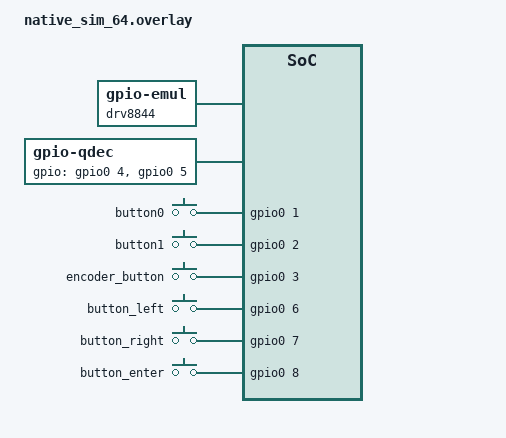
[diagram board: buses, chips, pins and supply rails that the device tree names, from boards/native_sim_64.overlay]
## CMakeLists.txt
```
# SPDX-License-Identifier: Apache-2.0

cmake_minimum_required(VERSION 3.20.0)

set(CMAKE_EXPORT_COMPILE_COMMANDS ON)

set(ZEPHYR_EXTRA_MODULES "${CMAKE_SOURCE_DIR}/../../modules/veethree_sim" "${CMAKE_SOURCE_DIR}/../../modules/bsp" "${CMAKE_SOURCE_DIR}/../../modules/nafe")

find_package(Zephyr REQUIRED HINTS $ENV{ZEPHYR_BASE})

project(app)

target_sources(app PRIVATE src/main.c )

target_compile_definitions(app PRIVATE LV_LVGL_H_INCLUDE_SIMPLE)
```

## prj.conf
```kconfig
CONFIG_ASSERT=y
CONFIG_SYS_CLOCK_HW_CYCLES_PER_SEC=492000000



CONFIG_FLASH=y
# IMPORTANT NOTE: Flash shell does not work with bootloader; disable when 
# the application is run from the secondary bootloader
CONFIG_FLASH_SHELL=n
CONFIG_FLASH_SHELL_TEST_COMMANDS=n

# Bootloader
CONFIG_BOOTLOADER_MCUBOOT=n
CONFIG_MCUBOOT_GENERATE_UNSIGNED_IMAGE=n
CONFIG_MCUBOOT_BOOTLOADER_MODE_DIRECT_XIP=n


CONFIG_LOG=y
CONFIG_HWINFO=y
# Float log support
CONFIG_CBPRINTF_FP_SUPPORT=y
CONFIG_LOG_BUFFER_SIZE=4096
CONFIG_INIT_STACKS=y

CONFIG_GPIO=y
CONFIG_GPIO_SHELL=y

CONFIG_CONSOLE=y
CONFIG_UART_CONSOLE=y
CONFIG_SHELL=y
CONFIG_SHELL_STACK_SIZE=4096
CONFIG_SHELL_PROMPT_UART="proto:~$"

CONFIG_DMA=y
CONFIG_SYSTEM_WORKQUEUE_STACK_SIZE=4096
CONFIG_PWM=y

CONFIG_SPI=y
CONFIG_MODBUS=y

CONFIG_CAN=y
CONFIG_CAN_SHELL=y
# errors with prioroty otherwise
CONFIG_CAN_TRANSCEIVER_INIT_PRIORITY=80 

CONFIG_DRV8844=y
CONFIG_NAFE13388=y

# Hardware timer driver is enabled by COUNTER switch
CONFIG_COUNTER=y

CONFIG_NUM_COOP_PRIORITIES=29
CONFIG_NUM_PREEMPT_PRIORITIES=40
CONFIG_THREAD_NAME=y
CONFIG_REBOOT=y
CONFIG_THREAD_STACK_INFO=y
CONFIG_THREAD_RUNTIME_STATS=y
CONFIG_HW_STACK_PROTECTION=y

CONFIG_FAULT_DUMP=2
CONFIG_RUNTIME_ERROR_CHECKS=y
CONFIG_DEBUG_THREAD_INFO=y
CONFIG_PRINTK=y

CONFIG_NO_OPTIMIZATIONS=y
CONFIG_MAIN_STACK_SIZE=8192
CONFIG_HEAP_MEM_POOL_SIZE=262144
CONFIG_IDLE_STACK_SIZE=4096

# Flash
CONFIG_MEMC=y
CONFIG_FLASH_MCUX_FLEXSPI_NOR_WRITE_BUFFER=n

# I2C EEPROM, GPIO expander
CONFIG_I2C=y
CONFIG_I2C_SHELL=y

CONFIG_EEPROM=n

# GPIO_PCA953X
CONFIG_GPIO_LOG_LEVEL_DBG=n

# LED Driver
CONFIG_LED=y


# LVGL
CONFIG_MCUX_ELCDIF_PXP=y
CONFIG_DISPLAY=y
CONFIG_DISPLAY_INIT_PRIORITY=80
CONFIG_DISPLAY_LOG_LEVEL_ERR=y
CONFIG_DISPLAY=y
CONFIG_DISPLAY_MCUX_ELCDIF=y

CONFIG_LVGL=y
CONFIG_LV_MEM_CUSTOM=y
CONFIG_LV_USE_LOG=y
CONFIG_LV_USE_LABEL=y
CONFIG_LV_USE_BTN=y
CONFIG_LV_USE_ARC=y
CONFIG_LV_USE_IMG=y
CONFIG_LV_USE_MONKEY=y
CONFIG_LV_FONT_MONTSERRAT_14=y
CONFIG_LV_Z_MEM_POOL_SIZE=52224


# Configs from shield rk043fn66hs_ctg's defconfig
CONFIG_LV_Z_VDB_SIZE=100
CONFIG_LV_Z_DOUBLE_VDB=y
CONFIG_LV_Z_FULL_REFRESH=y
CONFIG_LV_Z_BITS_PER_PIXEL=32
CONFIG_LV_DPI_DEF=128
CONFIG_LV_Z_FLUSH_THREAD=n
CONFIG_LV_Z_VDB_ALIGN=32

CONFIG_LV_Z_MEM_POOL_SIZE=52224 
# CONFIG_LV_Z_FLUSH_THREAD_STACK_SIZE=8192
CONFIG_LV_Z_MEM_POOL_SYS_HEAP=y
CONFIG_LV_COLOR_DEPTH_32=y

CONFIG_LV_USE_PERF_MONITOR=y
# CONFIG_LV_USE_PXP=y - NO PXP...
```

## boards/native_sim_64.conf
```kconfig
# Copyright 2025 Abderrahmane JARMOUNI
# SPDX-License-Identifier: Apache-2.0

CONFIG_LV_COLOR_DEPTH_32=y
CONFIG_LV_Z_MEM_POOL_SIZE=150536

CONFIG_VE_SIM=y
CONFIG_INPUT=y

CONFIG_NAFE13388=n
CONFIG_DRV8844=y

CONFIG_NAFE13388_EMUL=y
CONFIG_NAFE13388=n

CONFIG_USE_DT_CODE_PARTITION=n
CONFIG_MCUX_ELCDIF_PXP=n
CONFIG_DISPLAY_MCUX_ELCDIF=n
CONFIG_HW_STACK_PROTECTION=n

CONFIG_BOOTLOADER_MCUBOOT=n
CONFIG_MCUBOOT_GENERATE_UNSIGNED_IMAGE=n
CONFIG_MCUBOOT_BOOTLOADER_MODE_DIRECT_XIP=n
CONFIG_BSP_AUTO_INIT=y
```

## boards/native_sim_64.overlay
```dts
/*
 * Copyright (c) 2022, RAFAL 
 *
 * SPDX-License-Identifier: Apache-2.0
 */

#include <zephyr/dt-bindings/input/input-event-codes.h>
#include <zephyr/dt-bindings/lvgl/lvgl.h>

/ {	
	aliases {
        debug-uart = &uart0;
        led-green = &led0;
        led-red = &led0;

        drv8844 = &drv8844;
        i2c = &i2c0;       
		sw0 = &button0;
        can1-stb = &can0;     
        
    };	
     drv8844: drv8844 {
		status = "okay";
		compatible = "zephyr,gpio-emul";
		rising-edge;
		falling-edge;
		high-level;
		low-level;
		gpio-controller;
		#gpio-cells = <2>;   
	};          





	qdec {
		compatible = "gpio-qdec";
		gpios = <&gpio0 4 GPIO_ACTIVE_HIGH>, <&gpio0 5 GPIO_ACTIVE_HIGH>;
		steps-per-period = <4>;
		zephyr,axis = <INPUT_REL_WHEEL>;
		sample-time-us = <2000>;
		idle-timeout-ms = <200>;
	};

	keys: keys {
		compatible = "gpio-keys";
		button0: button0 {
			/* gpio0 pin 0 is already aliased to led0 */
			gpios = <&gpio0 1 GPIO_ACTIVE_HIGH>;
			zephyr,code = <INPUT_KEY_R>;
		};

		button1: button1 {
			gpios = <&gpio0 2 GPIO_ACTIVE_HIGH>;
			zephyr,code = <INPUT_KEY_B>;
		};

		encoder_button: encoder_button {
			gpios = <&gpio0 3 GPIO_ACTIVE_HIGH>;
			zephyr,code = <INPUT_KEY_0>;
		};

		button_left: button_left {
			gpios = <&gpio0 6 GPIO_ACTIVE_HIGH>;
			zephyr,code = <INPUT_KEY_LEFT>;
		};

		button_right: button_right {
			gpios = <&gpio0 7 GPIO_ACTIVE_HIGH>;
			zephyr,code = <INPUT_KEY_RIGHT>;
		};

		button_enter: button_enter {
			gpios = <&gpio0 8 GPIO_ACTIVE_HIGH>;
			zephyr,code = <INPUT_KEY_ENTER>;
		};
	};

	lvgl_button_input {
		compatible = "zephyr,lvgl-button-input";
		input = <&keys>;
		input-codes = <INPUT_KEY_B>;
		coordinates = <160 120>;
	};

	lvgl_encoder_input {
		compatible = "zephyr,lvgl-encoder-input";
		rotation-input-code = <INPUT_REL_WHEEL>;
		button-input-code = <INPUT_KEY_0>;
	};

	lvgl_keypad_input {
		compatible = "zephyr,lvgl-keypad-input";
		input = <&keys>;
		input-codes = <INPUT_KEY_LEFT INPUT_KEY_RIGHT INPUT_KEY_ENTER>;
		lvgl-codes = <LV_KEY_LEFT LV_KEY_RIGHT LV_KEY_ENTER>;
	};
};

&gpio1 {
	ngpios = <32>;
};

&gpio0 {
	ngpios = <9>;

	sdl_gpio {
		status = "okay";
		compatible = "zephyr,gpio-emul-sdl";
		/* Skip pin 0 with the unknown code 0 */
		scancodes = <0 21 5 30 31 32 80 79 40>;
	};
};


    
```

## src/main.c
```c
/*
 * Copyright (c) 2012-2014 Wind River Systems, Inc.
 *
 * SPDX-License-Identifier: Apache-2.0
 */
#include <zephyr/device.h>
#include <zephyr/devicetree.h>
#include <zephyr/drivers/display.h>
#include <zephyr/drivers/gpio.h>
#include <lvgl.h>
#include <stdio.h>
#include <string.h>
#include <zephyr/kernel.h>
#include <lvgl_input_device.h>

#include <stdio.h>
// #include "bsp.h"

lv_obj_t *screen;
static lv_obj_t * label;
uint32_t count = 0;

#ifdef CONFIG_GPIO
static struct gpio_dt_spec button_gpio = GPIO_DT_SPEC_GET_OR(
		DT_ALIAS(sw0), gpios, {0});
static struct gpio_callback button_callback;

static void button_isr_callback(const struct device *port,
				struct gpio_callback *cb,
				uint32_t pins)
{
	ARG_UNUSED(port);
	ARG_UNUSED(cb);
	ARG_UNUSED(pins);

	count = 0;
}
#endif

static void lv_btn_click_callback(lv_event_t *e)
{
	ARG_UNUSED(e);

	count++;
}

void cb_for_btns(void)
{
	count++;
}

#ifdef CONFIG_LV_Z_ENCODER_INPUT
static const struct device *lvgl_encoder =
	DEVICE_DT_GET(DT_COMPAT_GET_ANY_STATUS_OKAY(zephyr_lvgl_encoder_input));
#endif /* CONFIG_LV_Z_ENCODER_INPUT */

#ifdef CONFIG_LV_Z_KEYPAD_INPUT
static const struct device *lvgl_keypad =
	DEVICE_DT_GET(DT_COMPAT_GET_ANY_STATUS_OKAY(zephyr_lvgl_keypad_input));
#endif /* CONFIG_LV_Z_KEYPAD_INPUT */

int main(void)
{


	const struct device *Display_dev;
	lv_obj_t *hello_world_label;
	char count_str[20] = {0};

	Display_dev = DEVICE_DT_GET(DT_CHOSEN(zephyr_display));
	if (!device_is_ready(Display_dev)) {
		return 0;
	}
  

	#ifdef CONFIG_GPIO
	if (gpio_is_ready_dt(&button_gpio)) {
		int err;

		err = gpio_pin_configure_dt(&button_gpio, GPIO_INPUT);
		if (err) {			
			return 0;
		}

		gpio_init_callback(&button_callback, button_isr_callback,
				   BIT(button_gpio.pin));

		err = gpio_add_callback(button_gpio.port, &button_callback);
		if (err) {			
			return 0;
		}

		err = gpio_pin_interrupt_configure_dt(&button_gpio,
						      GPIO_INT_EDGE_TO_ACTIVE);
		if (err) {
			return 0;
		}
	}
#endif /* CONFIG_GPIO */

	printf("%d", IS_ENABLED(CONFIG_LV_Z_POINTER_KSCAN)); 
	printf("%d \n", IS_ENABLED(CONFIG_LV_Z_POINTER_INPUT));
	
	screen = lv_obj_create(lv_scr_act());	
	lv_obj_set_size(screen, 480, 272);
	lv_obj_set_pos(screen, 0, 0);
	lv_obj_set_scrollbar_mode(screen, LV_SCROLLBAR_MODE_OFF);

	
	hello_world_label = lv_label_create(screen);	
		

	lv_label_set_text(hello_world_label, "Hello world!");
	lv_obj_align(hello_world_label, LV_ALIGN_CENTER, 0, 0);

	lv_obj_t *hello_world_button;

		hello_world_button = lv_btn_create(screen);
		lv_obj_align(hello_world_button, LV_ALIGN_CENTER, 0, -50);
		lv_obj_add_event_cb(hello_world_button, lv_btn_click_callback, LV_EVENT_CLICKED,
				    NULL);

	printf("Hello World! %s\n", CONFIG_BOARD);

	random_lvgl_stuff_to_play_with();
	lv_scr_load(lv_scr_act());
	
	lv_task_handler();
	display_blanking_off(Display_dev);
	
	while (1) {	
		sprintf(count_str, "Hello World! %d", count);
		lv_label_set_text(hello_world_label, count_str);	
		lv_task_handler();	
		k_sleep(K_MSEC(10));
	}

	return 0;
}
static void anim_x_cb(void * var, int32_t v)
{
    lv_obj_set_y(var, v);
}

static void anim_size_cb(void * var, int32_t v)
{
    lv_obj_set_size(var, v, v);
}

static void slider_event_cb(lv_event_t * e)
{
    lv_obj_t * slider = lv_event_get_target(e);

    /*Refresh the text*/
    lv_label_set_text_fmt(label, "%"LV_PRId32, lv_slider_get_value(slider));
    lv_obj_align_to(label, slider, LV_ALIGN_OUT_TOP_MID, 0, -15);    /*Align top of the slider*/
}


static void set_angle(void * obj, int32_t v)
{
    lv_arc_set_value(obj, v);
}

static void draw_event_cb(lv_event_t * e)
{
    lv_obj_draw_part_dsc_t * dsc = lv_event_get_draw_part_dsc(e);
    if(dsc->part == LV_PART_ITEMS) {
        lv_obj_t * obj = lv_event_get_target(e);
        lv_chart_series_t * ser = lv_chart_get_series_next(obj, NULL);
        uint32_t cnt = lv_chart_get_point_count(obj);
        /*Make older value more transparent*/
        dsc->rect_dsc->bg_opa = (LV_OPA_COVER *  dsc->id) / (cnt - 1);

        /*Make smaller values blue, higher values red*/
        lv_coord_t * x_array = lv_chart_get_x_array(obj, ser);
        lv_coord_t * y_array = lv_chart_get_y_array(obj, ser);
        /*dsc->id is the tells drawing order, but we need the ID of the point being drawn.*/
        uint32_t start_point = lv_chart_get_x_start_point(obj, ser);
        uint32_t p_act = (start_point + dsc->id) % cnt; /*Consider start point to get the index of the array*/
        lv_opa_t x_opa = (x_array[p_act] * LV_OPA_50) / 200;
        lv_opa_t y_opa = (y_array[p_act] * LV_OPA_50) / 1000;

        dsc->rect_dsc->bg_color = lv_color_mix(lv_palette_main(LV_PALETTE_RED),
                                               lv_palette_main(LV_PALETTE_BLUE),
                                               x_opa + y_opa);
    }
}

static void add_data(lv_timer_t * timer)
{
    LV_UNUSED(timer);
    lv_obj_t * chart = timer->user_data;
    lv_chart_set_next_value2(chart, lv_chart_get_series_next(chart, NULL), lv_rand(0, 200), lv_rand(0, 1000));
}

void random_lvgl_stuff_to_play_with(void)
{
	  /*Create a slider in the center of the display*/
    lv_obj_t * slider = lv_slider_create(screen);
    lv_obj_set_width(slider, 200);                          /*Set the width*/
    lv_obj_center(slider);                                  /*Align to the center of the parent (screen)*/
    lv_obj_add_event_cb(slider, slider_event_cb, LV_EVENT_VALUE_CHANGED, NULL);     /*Assign an event function*/

    /*Create a label above the slider*/
    label = lv_label_create(screen);
    lv_label_set_text(label, "0");
    lv_obj_align_to(label, slider, LV_ALIGN_OUT_TOP_MID, 0, -15);    /*Align top of the slider*/


	lv_obj_t * obj = lv_obj_create(screen);
    lv_obj_set_style_bg_color(obj, lv_palette_main(LV_PALETTE_RED), 0);
    lv_obj_set_style_radius(obj, LV_RADIUS_CIRCLE, 0);

    lv_obj_align(obj, LV_ALIGN_TOP_LEFT, 10, 0);

    lv_anim_t a;
    lv_anim_init(&a);
    lv_anim_set_var(&a, obj);
    lv_anim_set_values(&a, 10, 50);
    lv_anim_set_time(&a, 1000);
    lv_anim_set_playback_delay(&a, 100);
    lv_anim_set_playback_time(&a, 300);
    lv_anim_set_repeat_delay(&a, 500);
    lv_anim_set_repeat_count(&a, LV_ANIM_REPEAT_INFINITE);
    lv_anim_set_path_cb(&a, lv_anim_path_ease_in_out);

    lv_anim_set_exec_cb(&a, anim_size_cb);
    lv_anim_start(&a);
    lv_anim_set_exec_cb(&a, anim_x_cb);
    lv_anim_set_values(&a, 10, 200);
    lv_anim_start(&a);



	  /*Create an Arc*/
    lv_obj_t * arc = lv_arc_create(screen);
    lv_arc_set_rotation(arc, 270);
    lv_arc_set_bg_angles(arc, 0, 360);
    lv_obj_remove_style(arc, NULL, LV_PART_KNOB);   /*Be sure the knob is not displayed*/
    lv_obj_clear_flag(arc, LV_OBJ_FLAG_CLICKABLE);  /*To not allow adjusting by click*/
    lv_obj_align(arc, LV_ALIGN_RIGHT_MID, 10, 0);

    lv_anim_t b;
    lv_anim_init(&b);
    lv_anim_set_var(&b, arc);
    lv_anim_set_exec_cb(&b, set_angle);
    lv_anim_set_time(&b, 1000);
    lv_anim_set_repeat_count(&b, LV_ANIM_REPEAT_INFINITE);    /*Just for the demo*/
    lv_anim_set_repeat_delay(&b, 500);
    lv_anim_set_values(&b, 0, 100);
    lv_anim_start(&b);

	 /*Init the style for the default state*/
    static lv_style_t style;
    lv_style_init(&style);

    lv_style_set_radius(&style, 3);

    lv_style_set_bg_opa(&style, LV_OPA_100);
    lv_style_set_bg_color(&style, lv_palette_main(LV_PALETTE_BLUE));
    lv_style_set_bg_grad_color(&style, lv_palette_darken(LV_PALETTE_BLUE, 2));
    lv_style_set_bg_grad_dir(&style, LV_GRAD_DIR_VER);

    lv_style_set_border_opa(&style, LV_OPA_40);
    lv_style_set_border_width(&style, 2);
    lv_style_set_border_color(&style, lv_palette_main(LV_PALETTE_GREY));

    lv_style_set_shadow_width(&style, 8);
    lv_style_set_shadow_color(&style, lv_palette_main(LV_PALETTE_GREY));
    lv_style_set_shadow_ofs_y(&style, 8);

    lv_style_set_outline_opa(&style, LV_OPA_COVER);
    lv_style_set_outline_color(&style, lv_palette_main(LV_PALETTE_BLUE));

    lv_style_set_text_color(&style, lv_color_white());
    lv_style_set_pad_all(&style, 10);

    /*Init the pressed style*/
    static lv_style_t style_pr;
    lv_style_init(&style_pr);

    /*Add a large outline when pressed*/
    lv_style_set_outline_width(&style_pr, 30);
    lv_style_set_outline_opa(&style_pr, LV_OPA_TRANSP);

    lv_style_set_translate_y(&style_pr, 5);
    lv_style_set_shadow_ofs_y(&style_pr, 3);
    lv_style_set_bg_color(&style_pr, lv_palette_darken(LV_PALETTE_BLUE, 2));
    lv_style_set_bg_grad_color(&style_pr, lv_palette_darken(LV_PALETTE_BLUE, 4));

    /*Add a transition to the outline*/
    static lv_style_transition_dsc_t trans;
    static lv_style_prop_t props[] = {LV_STYLE_OUTLINE_WIDTH, LV_STYLE_OUTLINE_OPA, 0};
    lv_style_transition_dsc_init(&trans, props, lv_anim_path_linear, 300, 0, NULL);

    lv_style_set_transition(&style_pr, &trans);

    lv_obj_t * btn1 = lv_btn_create(screen);
    lv_obj_remove_style_all(btn1);                          /*Remove the style coming from the theme*/
    lv_obj_add_style(btn1, &style, 0);
    lv_obj_add_style(btn1, &style_pr, LV_STATE_PRESSED);
    lv_obj_set_size(btn1, LV_SIZE_CONTENT, LV_SIZE_CONTENT);
     lv_obj_align(btn1, LV_ALIGN_TOP_MID, -20, 0);

    lv_obj_t * label = lv_label_create(btn1);
    lv_label_set_text(label, "Button");
    lv_obj_center(label);


	 lv_obj_t * chart = lv_chart_create(screen);
    lv_obj_set_size(chart, 150, 100);
    lv_obj_align(chart, LV_ALIGN_BOTTOM_MID, 0, 0);
    lv_obj_add_event_cb(chart, draw_event_cb, LV_EVENT_DRAW_PART_BEGIN, NULL);
    lv_obj_set_style_line_width(chart, 0, LV_PART_ITEMS);   /*Remove the lines*/

    lv_chart_set_type(chart, LV_CHART_TYPE_SCATTER);

    lv_chart_set_axis_tick(chart, LV_CHART_AXIS_PRIMARY_X, 5, 5, 5, 1, true, 30);
    lv_chart_set_axis_tick(chart, LV_CHART_AXIS_PRIMARY_Y, 10, 5, 6, 5, true, 50);

    lv_chart_set_range(chart, LV_CHART_AXIS_PRIMARY_X, 0, 200);
    lv_chart_set_range(chart, LV_CHART_AXIS_PRIMARY_Y, 0, 1000);

    lv_chart_set_point_count(chart, 50);

    lv_chart_series_t * ser = lv_chart_add_series(chart, lv_palette_main(LV_PALETTE_RED), LV_CHART_AXIS_PRIMARY_Y);
    uint32_t i;
    for(i = 0; i < 50; i++) {
        lv_chart_set_next_value2(chart, ser, lv_rand(0, 200), lv_rand(0, 1000));
    }

    lv_timer_create(add_data, 100, chart);
}
```
